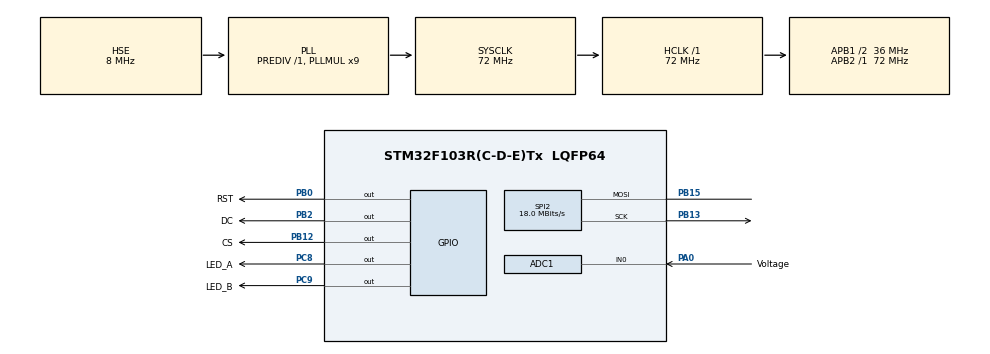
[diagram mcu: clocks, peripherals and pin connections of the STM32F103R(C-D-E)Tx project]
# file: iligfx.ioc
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ADC1.Channel-0\#ChannelRegularConversion=ADC_CHANNEL_0
ADC1.NbrOfConversionFlag=1
ADC1.Rank-0\#ChannelRegularConversion=1
ADC1.SamplingTime-0\#ChannelRegularConversion=ADC_SAMPLETIME_1CYCLE_5
ADC1.master=1
Mcu.Family=STM32F1
Mcu.Name=STM32F103R(C-D-E)Tx
Mcu.Package=LQFP64
NVIC.PriorityGroup=NVIC_PRIORITYGROUP_4
PA0-WKUP.GPIO_Label=Voltage
PA0-WKUP.Signal=ADCx_IN0
PA13.Mode=Serial_Wire
PA13.Signal=SYS_JTMS-SWDIO
PA14.Mode=Serial_Wire
PA14.Signal=SYS_JTCK-SWCLK
PB0.GPIO_Label=RST
PB0.Signal=GPIO_Output
PB12.GPIO_Label=CS
PB12.Signal=GPIO_Output
PB13.Mode=Simplex_Bidirectional_Master
PB13.Signal=SPI2_SCK
PB15.Mode=Simplex_Bidirectional_Master
PB15.Signal=SPI2_MOSI
PB2.GPIO_Label=DC
PB2.Signal=GPIO_Output
PC14-OSC32_IN.Mode=LSE-External-Oscillator
PC14-OSC32_IN.Signal=RCC_OSC32_IN
PC15-OSC32_OUT.Mode=LSE-External-Oscillator
PC15-OSC32_OUT.Signal=RCC_OSC32_OUT
PC8.GPIO_Label=LED_A
PC8.Signal=GPIO_Output
PC9.GPIO_Label=LED_B
PC9.Signal=GPIO_Output
PD0-OSC_IN.Mode=HSE-External-Oscillator
PD0-OSC_IN.Signal=RCC_OSC_IN
PD1-OSC_OUT.Mode=HSE-External-Oscillator
PD1-OSC_OUT.Signal=RCC_OSC_OUT
ProjectManager.HeapSize=0x200
ProjectManager.StackSize=0x400
ProjectManager.TargetToolchain=STM32CubeIDE
RCC.ADCPresc=RCC_ADCPCLK2_DIV6
RCC.AHBFreq_Value=72000000
RCC.APB1CLKDivider=RCC_HCLK_DIV2
RCC.APB1Freq_Value=36000000
RCC.APB1TimFreq_Value=72000000
RCC.APB2Freq_Value=72000000
RCC.APB2TimFreq_Value=72000000
RCC.HCLKFreq_Value=72000000
RCC.PLLMUL=RCC_PLL_MUL9
RCC.PLLSourceVirtual=RCC_PLLSOURCE_HSE
RCC.RTCClockSelection=RCC_RTCCLKSOURCE_LSE
RCC.SYSCLKFreq_VALUE=72000000
RCC.SYSCLKSource=RCC_SYSCLKSOURCE_PLLCLK
RCC.USBFreq_Value=72000000
RTC.Date=28
RTC.Format=RTC_FORMAT_BIN
RTC.Hours=13
RTC.Minutes=51
RTC.Month=RTC_MONTH_FEBRUARY
RTC.WeekDay=RTC_WEEKDAY_SUNDAY
SH.ADCx_IN0.0=ADC1_IN0,IN0
SPI2.CalculateBaudRate=18.0 MBits/s
SPI2.Direction=SPI_DIRECTION_1LINE
SPI2.Mode=SPI_MODE_MASTER
SPI2.VirtualType=VM_MASTER
VP_ADC1_TempSens_Input.Mode=IN-TempSens
VP_RTC_VS_RTC_Activate.Mode=RTC_Enabled
VP_RTC_VS_RTC_Calendar.Mode=RTC_Calendar
VP_TIM1_VS_ClockSourceINT.Mode=Internal
board=custom

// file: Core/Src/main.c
/* USER CODE BEGIN Header */
/**
  ******************************************************************************
  * @file           : main.c
  * @brief          : Main program body
  ******************************************************************************
  * @attention
  *
  * <h2><center>&copy; Copyright (c) 2021 STMicroelectronics.
  * All rights reserved.</center></h2>
  *
  * This software component is licensed by ST under BSD 3-Clause license,
  * the "License"; You may not use this file except in compliance with the
  * License. You may obtain a copy of the License at:
  *                        opensource.org/licenses/BSD-3-Clause
  *
  ******************************************************************************
  */
/* USER CODE END Header */
#include "main.h"
#include "adc.h"
#include "rtc.h"
#include "spi.h"
#include "tim.h"
#include "gpio.h"

/* USER CODE BEGIN Includes */
#include "ILI9341_STM32_Driver.h"
#include "ILI9341_GFX.h"
#include <stdio.h>
#include "snow_tiger.h"
/* USER CODE END Includes */

/* USER CODE BEGIN PV */
RTC_TimeTypeDef sTime = {0};
RTC_DateTypeDef DateToUpdate = {0};
uint16_t adc = 0;
uint16_t j = 255;
uint16_t i;
uint16_t percent = 0;
uint16_t tempPercent;
uint16_t tempClock;
char trans_str[64] = {0,};
/* USER CODE END PV */

void SystemClock_Config(void);
/* USER CODE BEGIN PFP */
int16_t map (int16_t x, int16_t in_min, int16_t in_max, int16_t out_min, int16_t out_max);
/* USER CODE END PFP */

int main(void)
{

  /* MCU Configuration--------------------------------------------------------*/

  /* Reset of all peripherals, Initializes the Flash interface and the Systick. */
  HAL_Init();

  /* Configure the system clock */
  SystemClock_Config();

  /* Initialize all configured peripherals */
  MX_GPIO_Init();
  MX_RTC_Init();
  MX_TIM1_Init();
  MX_SPI2_Init();
  MX_ADC1_Init();
  /* Run the ADC calibration */
    if (HAL_ADCEx_Calibration_Start(&hadc1) != HAL_OK)
    {
      /* Calibration Error */
      Error_Handler();
    }
  /* USER CODE BEGIN 2 */
  ILI9341_Init();//initial driver setup to drive ili9341
  ILI9341_Fill_Screen(BLACK);
  		//ILI9341_Draw_Image((const char*)lcd_tft, SCREEN_HORIZONTAL_1);
  		ILI9341_Set_Rotation(SCREEN_HORIZONTAL_1);
  		ILI9341_Draw_Text("20:85", 50, 80, WHITE, 3, BLUE);
  		ILI9341_DrawText("20:85", BIGFONT, 50, 100, WHITE, BLUE);
  /* USER CODE END 2 */

  /* Infinite loop */
  while (1)
  {

    /* USER CODE BEGIN 3 */
clock();
checkBattery();
ILI9341_Draw_Horizontal_Line(0,24,320,CYAN);
ILI9341_Draw_Horizontal_Line(0,25,320,CYAN);

}

//ILI9341_Draw_Text(j, 50, 60, WHITE, 1, BLACK);

  /* USER CODE END 3 */
}

void SystemClock_Config(void)
{
  RCC_OscInitTypeDef RCC_OscInitStruct = {0};
  RCC_ClkInitTypeDef RCC_ClkInitStruct = {0};
  RCC_PeriphCLKInitTypeDef PeriphClkInit = {0};

  /** Initializes the RCC Oscillators according to the specified parameters
  * in the RCC_OscInitTypeDef structure.
  */
  RCC_OscInitStruct.OscillatorType = RCC_OSCILLATORTYPE_HSE|RCC_OSCILLATORTYPE_LSE;
  RCC_OscInitStruct.HSEState = RCC_HSE_ON;
  RCC_OscInitStruct.HSEPredivValue = RCC_HSE_PREDIV_DIV1;
  RCC_OscInitStruct.LSEState = RCC_LSE_ON;
  RCC_OscInitStruct.HSIState = RCC_HSI_ON;
  RCC_OscInitStruct.PLL.PLLState = RCC_PLL_ON;
  RCC_OscInitStruct.PLL.PLLSource = RCC_PLLSOURCE_HSE;
  RCC_OscInitStruct.PLL.PLLMUL = RCC_PLL_MUL9;
  if (HAL_RCC_OscConfig(&RCC_OscInitStruct) != HAL_OK)
  {
    Error_Handler();
  }
  /** Initializes the CPU, AHB and APB buses clocks
  */
  RCC_ClkInitStruct.ClockType = RCC_CLOCKTYPE_HCLK|RCC_CLOCKTYPE_SYSCLK
                              |RCC_CLOCKTYPE_PCLK1|RCC_CLOCKTYPE_PCLK2;
  RCC_ClkInitStruct.SYSCLKSource = RCC_SYSCLKSOURCE_PLLCLK;
  RCC_ClkInitStruct.AHBCLKDivider = RCC_SYSCLK_DIV1;
  RCC_ClkInitStruct.APB1CLKDivider = RCC_HCLK_DIV2;
  RCC_ClkInitStruct.APB2CLKDivider = RCC_HCLK_DIV1;

  if (HAL_RCC_ClockConfig(&RCC_ClkInitStruct, FLASH_LATENCY_2) != HAL_OK)
  {
    Error_Handler();
  }
  PeriphClkInit.PeriphClockSelection = RCC_PERIPHCLK_RTC|RCC_PERIPHCLK_ADC;
  PeriphClkInit.RTCClockSelection = RCC_RTCCLKSOURCE_LSE;
  PeriphClkInit.AdcClockSelection = RCC_ADCPCLK2_DIV6;
  if (HAL_RCCEx_PeriphCLKConfig(&PeriphClkInit) != HAL_OK)
  {
    Error_Handler();
  }
}

/* USER CODE BEGIN 4 */
int16_t map (int16_t x, int16_t in_min, int16_t in_max, int16_t out_min, int16_t out_max)
{
  // if input is smaller/bigger than expected return the min/max out ranges value
  if (x < in_min)
    return out_min;
  else if (x > in_max)
    return out_max;

  // map the input to the output range.
  // round up if mapping bigger ranges to smaller ranges
  else  if ((in_max - in_min) > (out_max - out_min))
    return (x - in_min) * (out_max - out_min + 1) / (in_max - in_min + 1) + out_min;
  // round down if mapping smaller ranges to bigger ranges
  else
    return (x - in_min) * (out_max - out_min) / (in_max - in_min) + out_min;
}

void checkBattery()
{
	HAL_ADC_Start(&hadc1); // запускаем преобразование сигнала АЦП
	          HAL_ADC_PollForConversion(&hadc1, 100); // ожидаем окончания преобразования
	          adc = HAL_ADC_GetValue(&hadc1); // читаем полученное значение в переменную adc
	          //HAL_ADC_Stop(&hadc1); // останавливаем АЦП
	          j = map(adc, 0, 4096, 256, 290);
	          percent = map(adc, 0, 4096, 0, 100);
	         if(j<=273 && j>=260){i=ORANGE;};
	         if(j>273){i= GREEN;}
	         if(j<260){i= RED;}
	snprintf(trans_str, 63, "%d\n", percent);
	ILI9341_Draw_Hollow_Rectangle_Coord(252, 4, 291, 18, WHITE);
			ILI9341_Draw_Hollow_Rectangle_Coord(253, 5, 290, 17, WHITE);
			ILI9341_Draw_Filled_Rectangle_Coord(292, 8, 295, 15, WHITE);
	if(tempPercent!=percent){
		ILI9341_Draw_Filled_Rectangle_Coord(254, 6, 290, 17, i);
		ILI9341_Draw_Filled_Rectangle_Coord(j, 17, 290, 6, BLACK);
		tempPercent=percent;
		ILI9341_DrawText(trans_str, FONT3, 216, 5, WHITE, BLACK);
		ILI9341_DrawText("%", FONT3, 237, 5, WHITE, BLACK);
	}
}
void clock()
{
	 HAL_RTC_GetTime(&hrtc, &sTime, RTC_FORMAT_BIN); // RTC_FORMAT_BIN , RTC_FORMAT_BCD
	 if(sTime.Minutes<10){
		 snprintf(trans_str, 62, "%d:0%d:%d\n", sTime.Hours, sTime.Minutes, sTime.Seconds);
	 }
	 if(sTime.Seconds<10){
		 snprintf(trans_str, 62, "%d:%d:0%d\n", sTime.Hours, sTime.Minutes, sTime.Seconds);
		 }

	 if(sTime.Hours<10){
		 snprintf(trans_str, 62, "0%d:%d:%d\n", sTime.Hours, sTime.Minutes, sTime.Seconds);
			 }

	 if((sTime.Hours<10)&&(sTime.Minutes<10)){
	 		 snprintf(trans_str, 62, "0%d:0%d:%d\n", sTime.Hours, sTime.Minutes, sTime.Seconds);
	 			 }
		         //snprintf(trans_str, 62, "%d:%d:%d\n", sTime.Hours, sTime.Minutes, sTime.Seconds);
		         //ILI9341_DrawText(trans_str, 10, 10, WHITE, 2, BLACK);
		         if(tempClock!=sTime.Seconds){
		        	 tempClock=sTime.Seconds;
		        	 ILI9341_DrawText(trans_str, FONT4, 0, 0, WHITE, BLACK);}
		         else {

		         }
		        //  HAL_RTC_GetDate(&hrtc, &DateToUpdate, RTC_FORMAT_BIN);
		       //  snprintf(trans_str, 63, "Date %d-%d-20%d\n", DateToUpdate.Date, DateToUpdate.Month, DateToUpdate.Year);
		       //  ILI9341_Draw_Text(trans_str, 10, 30, WHITE, 2, BLACK);
		         //HAL_Delay(1000);
}
/* USER CODE END 4 */

void Error_Handler(void)
{
  __disable_irq();
  while (1)
  {
  }
}

/************************ (C) COPYRIGHT STMicroelectronics *****END OF FILE****/
